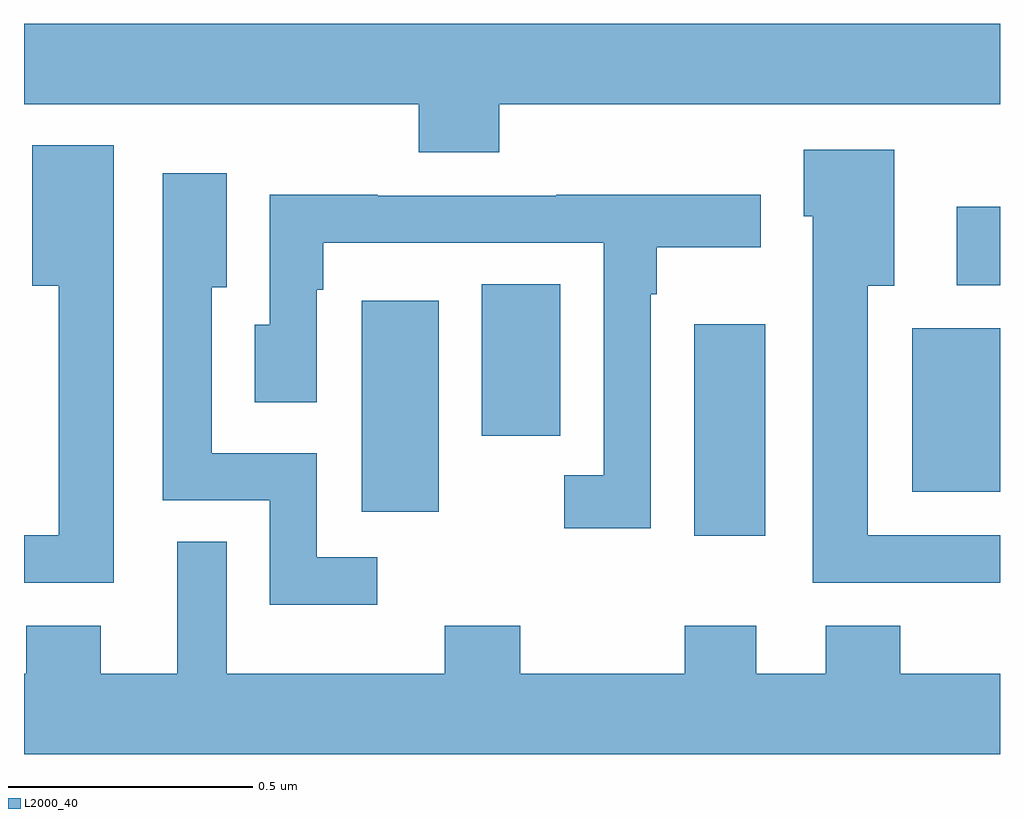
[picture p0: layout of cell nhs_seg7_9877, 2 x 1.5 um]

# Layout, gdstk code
import gdstk
lib = gdstk.Library(unit=1e-6, precision=1e-09)
def R(c, l, rs):  # rectangles x0, y0, x1, y1
    for r in rs: c.add(gdstk.rectangle(r[:2], r[2:], *l))
def P(c, l, *ps):  # polygons
    for p in ps: c.add(gdstk.Polygon(p, *l))
L2000_40 = (2000, 40)

nhs_seg7_9877 = lib.new_cell('nhs_seg7_9877')
R(nhs_seg7_9877, L2000_40, [(244.373,1007.723,244.519,1008.157), (243.692,1007.772,243.85,1008.205), (244.82,1007.813,245,1008.148), (243.938,1007.928,244.099,1008.239), (244.911,1008.237,245,1008.397)])
P(nhs_seg7_9877, L2000_40, [(243.974,1008.608),(245,1008.608),(245,1008.772),(243,1008.772),(243,1008.608),(243.809,1008.608),(243.809,1008.509),(243.974,1008.509)],
  [(243.184,1008.523),(243.017,1008.523),(243.017,1008.236),(243.071,1008.236),(243.071,1007.724),(243,1007.724),(243,1007.627),(243.184,1007.627)],
  [(245,1007.724),(244.729,1007.724),(244.729,1008.236),(244.783,1008.236),(244.783,1008.514),(244.598,1008.514),(244.598,1008.378),(244.616,1008.378),(244.616,1007.627),(245,1007.627)],
  [(243.724,1007.679),(243.6,1007.679),(243.6,1007.892),(243.385,1007.892),(243.385,1008.233),(243.415,1008.233),(243.415,1008.466),(243.284,1008.466),(243.284,1007.796),(243.504,1007.796),(243.504,1007.582),(243.724,1007.582)],
  [(244.284,1008.218),(244.297,1008.218),(244.297,1008.314),(244.51,1008.314),(244.51,1008.422),(244.091,1008.422),(244.091,1008.42),(243.725,1008.42),(243.725,1008.422),(243.504,1008.422),(243.504,1008.156),(243.473,1008.156),(243.473,1007.997),(243.6,1007.997),(243.6,1008.227),(243.613,1008.227),(243.613,1008.324),(244.188,1008.324),(244.188,1007.847),(244.107,1007.847),(244.107,1007.739),(244.284,1007.739)],
  [(245,1007.44),(244.796,1007.44),(244.796,1007.539),(244.643,1007.539),(244.643,1007.44),(244.501,1007.44),(244.501,1007.539),(244.354,1007.539),(244.354,1007.44),(244.017,1007.44),(244.017,1007.539),(243.862,1007.539),(243.862,1007.44),(243.415,1007.44),(243.415,1007.711),(243.314,1007.711),(243.314,1007.44),(243.157,1007.44),(243.157,1007.539),(243.005,1007.539),(243.005,1007.44),(243,1007.44),(243,1007.276),(245,1007.276)])

lib.write_gds('nhs_seg7_9877.gds')
